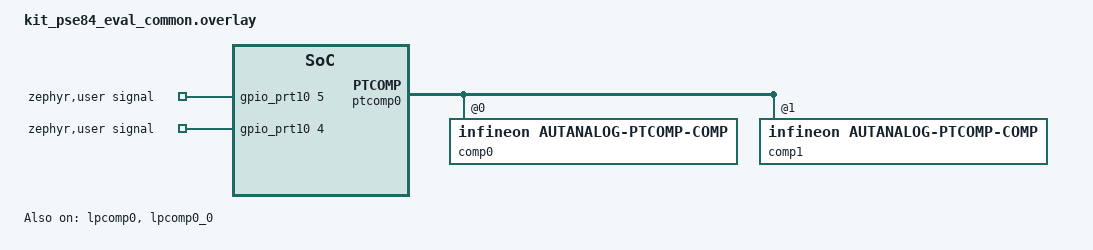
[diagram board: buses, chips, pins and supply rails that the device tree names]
/*
 * Copyright (c) 2026 Infineon Technologies AG,
 * or an affiliate of Infineon Technologies AG.
 *
 * SPDX-License-Identifier: Apache-2.0
 */

#include <zephyr/dt-bindings/comparator/infineon-autanalog-ptcomp.h>

/ {
	zephyr,user {
		signal-gpios = <&gpio_prt10 5 0>, <&gpio_prt10 4 0>;
	};
};

&gpio_prt10 {
	status = "okay";
};

&lpcomp0 {
	status = "okay";
};

&lpcomp0_0 {
	status = "okay";
	output-mode = "direct";
	power = "ulp";
	intr-type = "both";
	input-p = "gpio";
	input-n = "local_vref";
};

&lpcomp0_1 {
	status = "disabled";
	output-mode = "direct";
	power = "ulp";
	intr-type = "both";
	input-p = "gpio";
	input-n = "local_vref";
};

&ptcomp0 {
	status = "okay";

	comp0: comp@0 {
		compatible = "infineon,autanalog-ptcomp-comp";
		reg = <0>;
		power-mode = <IFX_AUTANALOG_PTCOMP_PWR_NORMAL>;
		interrupt-mode = <IFX_AUTANALOG_PTCOMP_INT_EDGE_RISING>;
		positive-mux = <IFX_AUTANALOG_PTCOMP_MUX_PRB_OUT0>;
		negative-mux = <IFX_AUTANALOG_PTCOMP_MUX_GPIO2>;  /* P15.2 */
	};

	comp1: comp@1 {
		compatible = "infineon,autanalog-ptcomp-comp";
		reg = <1>;
		power-mode = <IFX_AUTANALOG_PTCOMP_PWR_NORMAL>;
		interrupt-mode = <IFX_AUTANALOG_PTCOMP_INT_EDGE_RISING>;
		positive-mux = <IFX_AUTANALOG_PTCOMP_MUX_GPIO2>; /* P15.2 */
		negative-mux = <IFX_AUTANALOG_PTCOMP_MUX_PRB_OUT0>;
	};
};
